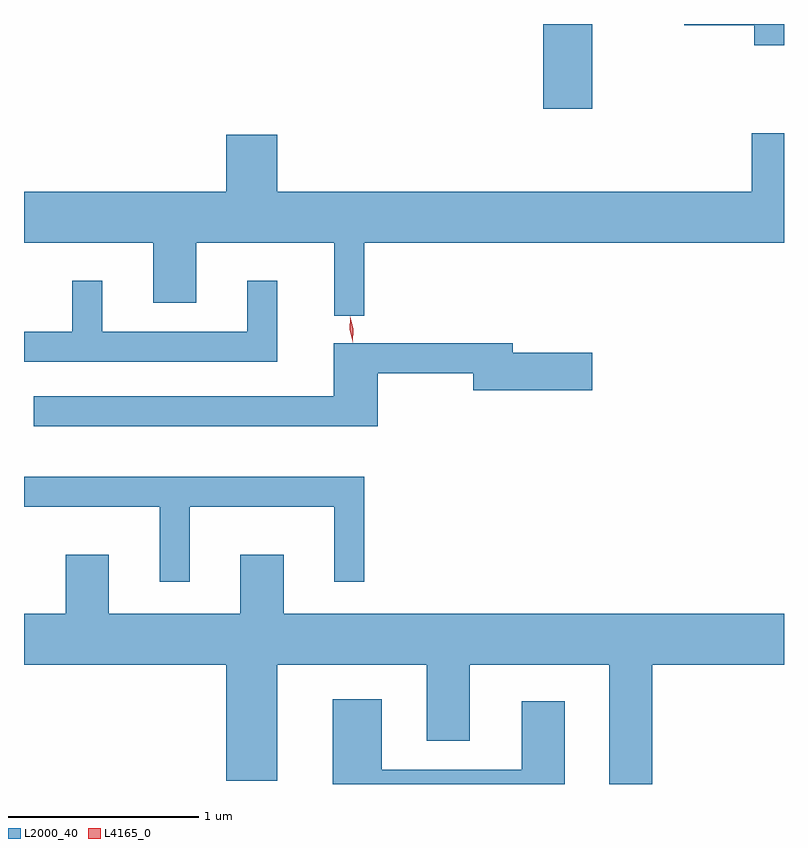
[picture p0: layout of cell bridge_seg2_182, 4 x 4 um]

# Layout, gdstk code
import gdstk
lib = gdstk.Library(unit=1e-6, precision=1e-09)
def R(c, l, rs):  # rectangles x0, y0, x1, y1
    for r in rs: c.add(gdstk.rectangle(r[:2], r[2:], *l))
def P(c, l, *ps):  # polygons
    for p in ps: c.add(gdstk.Polygon(p, *l))
L2000_40 = (2000, 40)
L4165_0 = (4165, 0)

bridge_seg2_182 = lib.new_cell('bridge_seg2_182')
R(bridge_seg2_182, L2000_40, [(776.186,1011.281,776.444,1011.728)])
P(bridge_seg2_182, L2000_40, [(777.452,1011.728),(776.926,1011.728),(776.926,1011.721),(777.296,1011.721),(777.296,1011.616),(777.452,1011.616)],
  [(775.244,1010.576),(777.452,1010.576),(777.452,1011.154),(777.281,1011.154),(777.281,1010.844),(774.784,1010.844),(774.784,1011.144),(774.516,1011.144),(774.516,1010.844),(773.452,1010.844),(773.452,1010.576),(774.131,1010.576),(774.131,1010.261),(774.359,1010.261),(774.359,1010.576),(775.086,1010.576),(775.086,1010.193),(775.244,1010.193)],
  [(774.784,1010.378),(774.626,1010.378),(774.626,1010.109),(773.864,1010.109),(773.864,1010.378),(773.706,1010.378),(773.706,1010.109),(773.452,1010.109),(773.452,1009.951),(774.784,1009.951)],
  [(775.314,1009.891),(775.816,1009.891),(775.816,1009.801),(776.444,1009.801),(776.444,1009.999),(776.024,1009.999),(776.024,1010.049),(775.081,1010.049),(775.081,1009.769),(773.503,1009.769),(773.503,1009.611),(775.314,1009.611)],
  [(774.324,1009.186),(775.086,1009.186),(775.086,1008.793),(775.244,1008.793),(775.244,1009.344),(773.452,1009.344),(773.452,1009.186),(774.166,1009.186),(774.166,1008.793),(774.324,1008.793)],
  [(774.784,1008.356),(775.571,1008.356),(775.571,1007.956),(775.799,1007.956),(775.799,1008.356),(776.531,1008.356),(776.531,1007.728),(776.759,1007.728),(776.759,1008.356),(777.452,1008.356),(777.452,1008.624),(774.819,1008.624),(774.819,1008.934),(774.591,1008.934),(774.591,1008.624),(773.899,1008.624),(773.899,1008.934),(773.671,1008.934),(773.671,1008.624),(773.452,1008.624),(773.452,1008.356),(774.516,1008.356),(774.516,1007.746),(774.784,1007.746)],
  [(776.299,1008.164),(776.071,1008.164),(776.071,1007.804),(775.334,1007.804),(775.334,1008.174),(775.076,1008.174),(775.076,1007.728),(776.299,1007.728)])
P(bridge_seg2_182, L4165_0, [(775.182,1010.054),(775.182,1010.055),(775.166,1010.119),(775.169,1010.186),(775.169,1010.186),(775.17,1010.186),(775.186,1010.121),(775.183,1010.055)])

lib.write_gds('bridge_seg2_182.gds')
